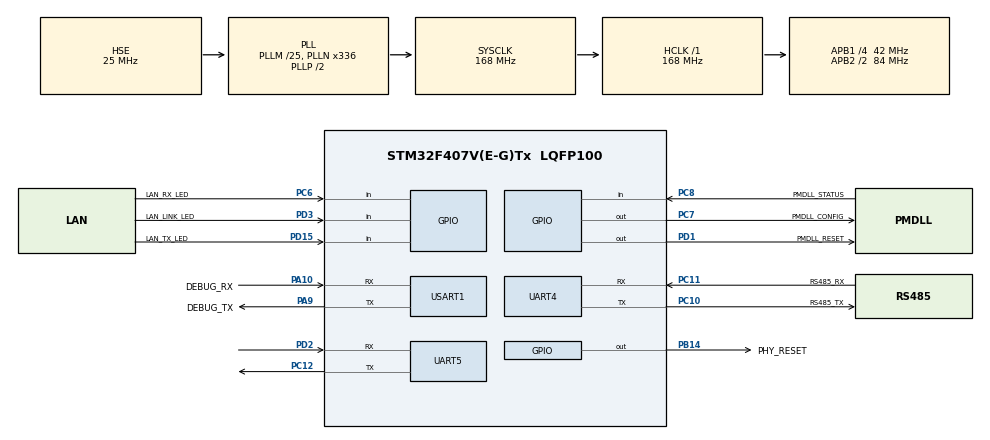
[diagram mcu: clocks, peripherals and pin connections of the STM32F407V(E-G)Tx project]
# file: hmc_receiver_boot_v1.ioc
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Mcu.Family=STM32F4
Mcu.Name=STM32F407V(E-G)Tx
Mcu.Package=LQFP100
NVIC.PriorityGroup=NVIC_PRIORITYGROUP_4
NVIC.UART4_IRQn=true\:0\:0\:false\:false\:true\:true\:true\:true
NVIC.UART5_IRQn=true\:0\:0\:false\:false\:true\:true\:true\:true
NVIC.USART1_IRQn=true\:0\:0\:false\:false\:true\:true\:true\:true
PA10.GPIO_Label=DEBUG_RX
PA10.Mode=Asynchronous
PA10.Signal=USART1_RX
PA13.Mode=Serial_Wire
PA13.Signal=SYS_JTMS-SWDIO
PA14.Mode=Serial_Wire
PA14.Signal=SYS_JTCK-SWCLK
PA9.GPIO_Label=DEBUG_TX
PA9.Mode=Asynchronous
PA9.Signal=USART1_TX
PB14.GPIO_Label=PHY_RESET
PB14.PinState=GPIO_PIN_SET
PB14.Signal=GPIO_Output
PC10.GPIO_Label=RS485_TX
PC10.Mode=Asynchronous
PC10.Signal=UART4_TX
PC11.GPIO_Label=RS485_RX
PC11.Mode=Asynchronous
PC11.Signal=UART4_RX
PC12.Mode=Asynchronous
PC12.Signal=UART5_TX
PC6.GPIO_Label=LAN_RX_LED
PC6.Signal=GPIO_Input
PC7.GPIO_Label=PMDLL_CONFIG
PC7.PinState=GPIO_PIN_SET
PC7.Signal=GPIO_Output
PC8.GPIO_Label=PMDLL_STATUS
PC8.Signal=GPIO_Input
PD1.GPIO_Label=PMDLL_RESET
PD1.PinState=GPIO_PIN_SET
PD1.Signal=GPIO_Output
PD15.GPIO_Label=LAN_TX_LED
PD15.Signal=GPIO_Input
PD2.Mode=Asynchronous
PD2.Signal=UART5_RX
PD3.GPIO_Label=LAN_LINK_LED
PD3.Signal=GPIO_Input
PH0-OSC_IN.Mode=HSE-External-Oscillator
PH0-OSC_IN.Signal=RCC_OSC_IN
PH1-OSC_OUT.Mode=HSE-External-Oscillator
PH1-OSC_OUT.Signal=RCC_OSC_OUT
ProjectManager.HeapSize=0x400
ProjectManager.StackSize=0x800
ProjectManager.TargetToolchain=STM32CubeIDE
RCC.48MHZClocksFreq_Value=84000000
RCC.AHBFreq_Value=168000000
RCC.APB1CLKDivider=RCC_HCLK_DIV4
RCC.APB1Freq_Value=42000000
RCC.APB1TimFreq_Value=84000000
RCC.APB2CLKDivider=RCC_HCLK_DIV2
RCC.APB2Freq_Value=84000000
RCC.APB2TimFreq_Value=168000000
RCC.CortexFreq_Value=168000000
RCC.HCLKFreq_Value=168000000
RCC.HSE_VALUE=25000000
RCC.HSI_VALUE=16000000
RCC.LSE_VALUE=32768
RCC.PLLM=25
RCC.PLLN=336
RCC.PLLSourceVirtual=RCC_PLLSOURCE_HSE
RCC.SYSCLKFreq_VALUE=168000000
RCC.SYSCLKSource=RCC_SYSCLKSOURCE_PLLCLK
RCC.VCOOutputFreq_Value=336000000
UART4.VirtualMode=Asynchronous
UART5.VirtualMode=Asynchronous
USART1.VirtualMode=VM_ASYNC
VP_IWDG_VS_IWDG.Mode=IWDG_Activate
board=custom

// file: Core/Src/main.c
/* USER CODE BEGIN Header */
/**
  ******************************************************************************
  * @file           : main.c
  * @brief          : Main program body
  ******************************************************************************
  * @attention
  *
  * Copyright (c) 2025 STMicroelectronics.
  * All rights reserved.
  *
  * This software is licensed under terms that can be found in the LICENSE file
  * in the root directory of this software component.
  * If no LICENSE file comes with this software, it is provided AS-IS.
  *
  ******************************************************************************
  */
/* USER CODE END Header */
#include "main.h"

/* USER CODE BEGIN Includes */
#include "xmodem.h"
#include "uart.h"
#include "flash_if.h"

/* USER CODE END Includes */

IWDG_HandleTypeDef hiwdg;

UART_HandleTypeDef huart4;
UART_HandleTypeDef huart5;
UART_HandleTypeDef huart1;

/* USER CODE BEGIN PV */

typedef  void (*pFunction)(void);

pFunction JumpToApplication;
uint32_t JumpAddress;
uint32_t FlashProtection = 0;

/* USER CODE END PV */

void SystemClock_Config(void);
static void MX_GPIO_Init(void);
static void MX_UART4_Init(void);
static void MX_USART1_UART_Init(void);
static void MX_IWDG_Init(void);
static void MX_UART5_Init(void);

/* USER CODE BEGIN 0 */

void phy_reset(void)
{
    HAL_GPIO_WritePin(PHY_RESET_GPIO_Port, PHY_RESET_Pin, GPIO_PIN_RESET);
    HAL_Delay(100);
    HAL_GPIO_WritePin(PHY_RESET_GPIO_Port, PHY_RESET_Pin, GPIO_PIN_SET);
}
void pmdll_reset(void)
{
    HAL_GPIO_WritePin(PMDLL_RESET_GPIO_Port, PMDLL_RESET_Pin, GPIO_PIN_RESET);
    HAL_Delay(100);
    HAL_GPIO_WritePin(PMDLL_RESET_GPIO_Port, PMDLL_RESET_Pin, GPIO_PIN_SET);
}

void flash_jump_to_app(void)
{
    /* Test if user code is programmed starting from address "APPLICATION_ADDRESS" */
    if (((*(__IO uint32_t*)APPLICATION_ADDRESS) & 0x2FFE0000 ) == 0x20000000)
    {
      /* Jump to user application */
      JumpAddress = *(__IO uint32_t*) (APPLICATION_ADDRESS + 4);
      JumpToApplication = (pFunction) JumpAddress;
      /* Initialize user application's Stack Pointer */
      __set_MSP(*(__IO uint32_t*) APPLICATION_ADDRESS);
      JumpToApplication();
   }

}

void flash_protect(void)
{
	if (FlashProtection != FLASHIF_PROTECTION_NONE)
	{
	/* Disable the write protection */
		if (FLASH_If_WriteProtectionConfig(OB_WRPSTATE_DISABLE) == HAL_OK)
		{
			//Serial_PutString((uint8_t *)"Write Protection disabled...\r\n");
			//Serial_PutString((uint8_t *)"System will now restart...\r\n");
			/* Launch the option byte loading */
			HAL_FLASH_OB_Launch();
			/* Ulock the flash */
			HAL_FLASH_Unlock();
		}
		else
		{
			//Serial_PutString((uint8_t *)"Error: Flash write un-protection failed...\r\n");
		}
	}
	else
	{
		if (FLASH_If_WriteProtectionConfig(OB_WRPSTATE_ENABLE) == HAL_OK)
		{
			//Serial_PutString((uint8_t *)"Write Protection enabled...\r\n");
			//Serial_PutString((uint8_t *)"System will now restart...\r\n");
			/* Launch the option byte loading */
			HAL_FLASH_OB_Launch();
		}
		else
		{
			//Serial_PutString((uint8_t *)"Error: Flash write protection failed...\r\n");
		}
	}
}

/* USER CODE END 0 */

int main(void)
{

  /* USER CODE BEGIN 1 */

	int i;
	uint8_t rdata;
	int setup = 0;
	uint8_t temp_data;
  /* USER CODE END 1 */

  /* MCU Configuration--------------------------------------------------------*/

  /* Reset of all peripherals, Initializes the Flash interface and the Systick. */
  HAL_Init();

  /* Configure the system clock */
  SystemClock_Config();

  /* Initialize all configured peripherals */
  MX_GPIO_Init();
  MX_UART4_Init();
  MX_USART1_UART_Init();
  MX_IWDG_Init();
  MX_UART5_Init();
  /* USER CODE BEGIN 2 */

  uart_transmit_str((uint8_t*)"\n\r================================\n\r");
  uart_transmit_str((uint8_t*)"UART Bootloader Ver:1.1\n\r");
  /* Test if any sector of Flash memory where user application will be loaded is write protected */
  FlashProtection = FLASH_If_GetWriteProtectionStatus();

  if(FlashProtection != FLASHIF_PROTECTION_NONE)
  {
  uart_transmit_str((uint8_t *)"Protection  enabled\n\r");
  }
  uart_transmit_str((uint8_t *)"J : Jump to Main\n\r");
  uart_transmit_str((uint8_t *)"~ : Firmware Update(xmodem)\n\r");
  uart_transmit_str((uint8_t *)"S : DataLink Setup\n\r");
  uart_transmit_str((uint8_t *)"P : DataLink Serial\n\r");
  uart_transmit_str((uint8_t *)"After 5 seconds,  Auto Jump to Main\n\r");

  for(i = 0; i < 50; i++)
  {
      //HAL_Delay(100);
      if(setup == 0)
      {
          if(i%10 == 0)
          {
              uart_transmit_ch((uint8_t)('1'+(i/10)));
              //                  uart_transmit_str((uint8_t*)"\n\r");
              //uart_transmit_str((uint8_t *)"\033[F"); // Move cursor to the previous line
          }
      }
      if(HAL_UART_Receive(&huart4, (uint8_t*)&rdata, 1, 100) == HAL_OK)
      {
          if(rdata == 'J')
          {
              setup = 0;
              i = 0;
              HAL_GPIO_WritePin(PHY_RESET_GPIO_Port, PHY_RESET_Pin, GPIO_PIN_SET);
              flash_jump_to_app();

          }
          else if(rdata == '~')
          {
              setup = 1;
              HAL_GPIO_WritePin(PHY_RESET_GPIO_Port, PHY_RESET_Pin, GPIO_PIN_SET);
              i = 0;
              break;
          }
          else if(rdata == 'S')
          {
              uart_transmit_str((uint8_t *)"DataLink Setup start\n\r");
              setup = 2;
              i = 0;
              HAL_GPIO_WritePin(PHY_RESET_GPIO_Port, PHY_RESET_Pin, GPIO_PIN_RESET);
              break;
          }
          else if(rdata == 'P')
          {
              uart_transmit_str((uint8_t *)"DataLink Serial start\n\r");
              uart_transmit_str((uint8_t *)"waiting......\n\r");
              setup = 3;
              i = 0;
              HAL_GPIO_WritePin(PHY_RESET_GPIO_Port, PHY_RESET_Pin, GPIO_PIN_RESET);
              uart4_interupt_set(1);
              uart5_interupt_set(1);
              break;
          }
      }

  }

  if(setup == 0)
  {
      flash_jump_to_app();
  }

  /* USER CODE END 2 */

  /* Infinite loop */
  /* USER CODE BEGIN WHILE */
  while (1)
  {

	  if(setup == 1)
	          {
	          /* Turn on the green LED to indicate, that we are in bootloader mode.*/
	          //	HAL_GPIO_WritePin(GPIOC, LD3_Pin, GPIO_PIN_SET);
	              /* Ask for new data and start the Xmodem protocol. */
	              uart_transmit_str((uint8_t*)"\n\rPlease send a new binary file with Xmodem protocol to update the firmware.\n\r");
	              xmodem_receive();
	              /* We only exit the xmodem protocol, if there are any errors.
	              * In that case, notify the user and start over. */
	              uart_transmit_str((uint8_t*)"\n\rFailed... Please try again.\n\r");
	          }
	          else if(setup == 3)
	          {
	              if(ringbuf_get(&uart4_buffer, &temp_data))
	              {
	                  uart5_transmit_ch(temp_data);
	              }
	              if(ringbuf_get(&uart5_buffer, &temp_data))
	              {
	                  uart_transmit_ch(temp_data);
	              }
	              else
	              {
	                  HAL_Delay(10);
	              }
	          }
	          else
	          {
	              HAL_Delay(10);
	          }
    /* USER CODE END WHILE */

  }
}

void SystemClock_Config(void)
{
  RCC_OscInitTypeDef RCC_OscInitStruct = {0};
  RCC_ClkInitTypeDef RCC_ClkInitStruct = {0};

  /** Configure the main internal regulator output voltage
  */
  __HAL_RCC_PWR_CLK_ENABLE();
  __HAL_PWR_VOLTAGESCALING_CONFIG(PWR_REGULATOR_VOLTAGE_SCALE1);

  /** Initializes the RCC Oscillators according to the specified parameters
  * in the RCC_OscInitTypeDef structure.
  */
  RCC_OscInitStruct.OscillatorType = RCC_OSCILLATORTYPE_LSI|RCC_OSCILLATORTYPE_HSE;
  RCC_OscInitStruct.HSEState = RCC_HSE_ON;
  RCC_OscInitStruct.LSIState = RCC_LSI_ON;
  RCC_OscInitStruct.PLL.PLLState = RCC_PLL_ON;
  RCC_OscInitStruct.PLL.PLLSource = RCC_PLLSOURCE_HSE;
  RCC_OscInitStruct.PLL.PLLM = 25;
  RCC_OscInitStruct.PLL.PLLN = 336;
  RCC_OscInitStruct.PLL.PLLP = RCC_PLLP_DIV2;
  RCC_OscInitStruct.PLL.PLLQ = 4;
  if (HAL_RCC_OscConfig(&RCC_OscInitStruct) != HAL_OK)
  {
    Error_Handler();
  }

  /** Initializes the CPU, AHB and APB buses clocks
  */
  RCC_ClkInitStruct.ClockType = RCC_CLOCKTYPE_HCLK|RCC_CLOCKTYPE_SYSCLK
                              |RCC_CLOCKTYPE_PCLK1|RCC_CLOCKTYPE_PCLK2;
  RCC_ClkInitStruct.SYSCLKSource = RCC_SYSCLKSOURCE_PLLCLK;
  RCC_ClkInitStruct.AHBCLKDivider = RCC_SYSCLK_DIV1;
  RCC_ClkInitStruct.APB1CLKDivider = RCC_HCLK_DIV4;
  RCC_ClkInitStruct.APB2CLKDivider = RCC_HCLK_DIV2;

  if (HAL_RCC_ClockConfig(&RCC_ClkInitStruct, FLASH_LATENCY_5) != HAL_OK)
  {
    Error_Handler();
  }
}

static void MX_IWDG_Init(void)
{

  hiwdg.Instance = IWDG;
  hiwdg.Init.Prescaler = IWDG_PRESCALER_4;
  hiwdg.Init.Reload = 4095;
  if (HAL_IWDG_Init(&hiwdg) != HAL_OK)
  {
    Error_Handler();
  }

}

static void MX_UART4_Init(void)
{

  huart4.Instance = UART4;
  huart4.Init.BaudRate = 115200;
  huart4.Init.WordLength = UART_WORDLENGTH_8B;
  huart4.Init.StopBits = UART_STOPBITS_1;
  huart4.Init.Parity = UART_PARITY_NONE;
  huart4.Init.Mode = UART_MODE_TX_RX;
  huart4.Init.HwFlowCtl = UART_HWCONTROL_NONE;
  huart4.Init.OverSampling = UART_OVERSAMPLING_16;
  if (HAL_UART_Init(&huart4) != HAL_OK)
  {
    Error_Handler();
  }

}

static void MX_UART5_Init(void)
{

  huart5.Instance = UART5;
  huart5.Init.BaudRate = 115200;
  huart5.Init.WordLength = UART_WORDLENGTH_8B;
  huart5.Init.StopBits = UART_STOPBITS_1;
  huart5.Init.Parity = UART_PARITY_NONE;
  huart5.Init.Mode = UART_MODE_TX_RX;
  huart5.Init.HwFlowCtl = UART_HWCONTROL_NONE;
  huart5.Init.OverSampling = UART_OVERSAMPLING_16;
  if (HAL_UART_Init(&huart5) != HAL_OK)
  {
    Error_Handler();
  }

}

static void MX_USART1_UART_Init(void)
{

  huart1.Instance = USART1;
  huart1.Init.BaudRate = 115200;
  huart1.Init.WordLength = UART_WORDLENGTH_8B;
  huart1.Init.StopBits = UART_STOPBITS_1;
  huart1.Init.Parity = UART_PARITY_NONE;
  huart1.Init.Mode = UART_MODE_TX_RX;
  huart1.Init.HwFlowCtl = UART_HWCONTROL_NONE;
  huart1.Init.OverSampling = UART_OVERSAMPLING_16;
  if (HAL_UART_Init(&huart1) != HAL_OK)
  {
    Error_Handler();
  }

}

static void MX_GPIO_Init(void)
{
  GPIO_InitTypeDef GPIO_InitStruct = {0};

  /* GPIO Ports Clock Enable */
  __HAL_RCC_GPIOH_CLK_ENABLE();
  __HAL_RCC_GPIOB_CLK_ENABLE();
  __HAL_RCC_GPIOD_CLK_ENABLE();
  __HAL_RCC_GPIOC_CLK_ENABLE();
  __HAL_RCC_GPIOA_CLK_ENABLE();

  /*Configure GPIO pin Output Level */
  HAL_GPIO_WritePin(PHY_RESET_GPIO_Port, PHY_RESET_Pin, GPIO_PIN_SET);

  /*Configure GPIO pin Output Level */
  HAL_GPIO_WritePin(PMDLL_CONFIG_GPIO_Port, PMDLL_CONFIG_Pin, GPIO_PIN_SET);

  /*Configure GPIO pin Output Level */
  HAL_GPIO_WritePin(PMDLL_RESET_GPIO_Port, PMDLL_RESET_Pin, GPIO_PIN_SET);

  /*Configure GPIO pin : PHY_RESET_Pin */
  GPIO_InitStruct.Pin = PHY_RESET_Pin;
  GPIO_InitStruct.Mode = GPIO_MODE_OUTPUT_PP;
  GPIO_InitStruct.Pull = GPIO_NOPULL;
  GPIO_InitStruct.Speed = GPIO_SPEED_FREQ_LOW;
  HAL_GPIO_Init(PHY_RESET_GPIO_Port, &GPIO_InitStruct);

  /*Configure GPIO pins : LAN_TX_LED_Pin LAN_LINK_LED_Pin */
  GPIO_InitStruct.Pin = LAN_TX_LED_Pin|LAN_LINK_LED_Pin;
  GPIO_InitStruct.Mode = GPIO_MODE_INPUT;
  GPIO_InitStruct.Pull = GPIO_NOPULL;
  HAL_GPIO_Init(GPIOD, &GPIO_InitStruct);

  /*Configure GPIO pins : LAN_RX_LED_Pin PMDLL_STATUS_Pin */
  GPIO_InitStruct.Pin = LAN_RX_LED_Pin|PMDLL_STATUS_Pin;
  GPIO_InitStruct.Mode = GPIO_MODE_INPUT;
  GPIO_InitStruct.Pull = GPIO_NOPULL;
  HAL_GPIO_Init(GPIOC, &GPIO_InitStruct);

  /*Configure GPIO pin : PMDLL_CONFIG_Pin */
  GPIO_InitStruct.Pin = PMDLL_CONFIG_Pin;
  GPIO_InitStruct.Mode = GPIO_MODE_OUTPUT_PP;
  GPIO_InitStruct.Pull = GPIO_NOPULL;
  GPIO_InitStruct.Speed = GPIO_SPEED_FREQ_LOW;
  HAL_GPIO_Init(PMDLL_CONFIG_GPIO_Port, &GPIO_InitStruct);

  /*Configure GPIO pin : PMDLL_RESET_Pin */
  GPIO_InitStruct.Pin = PMDLL_RESET_Pin;
  GPIO_InitStruct.Mode = GPIO_MODE_OUTPUT_PP;
  GPIO_InitStruct.Pull = GPIO_NOPULL;
  GPIO_InitStruct.Speed = GPIO_SPEED_FREQ_LOW;
  HAL_GPIO_Init(PMDLL_RESET_GPIO_Port, &GPIO_InitStruct);

}

void Error_Handler(void)
{
  __disable_irq();
  while (1)
  {
  }
}
